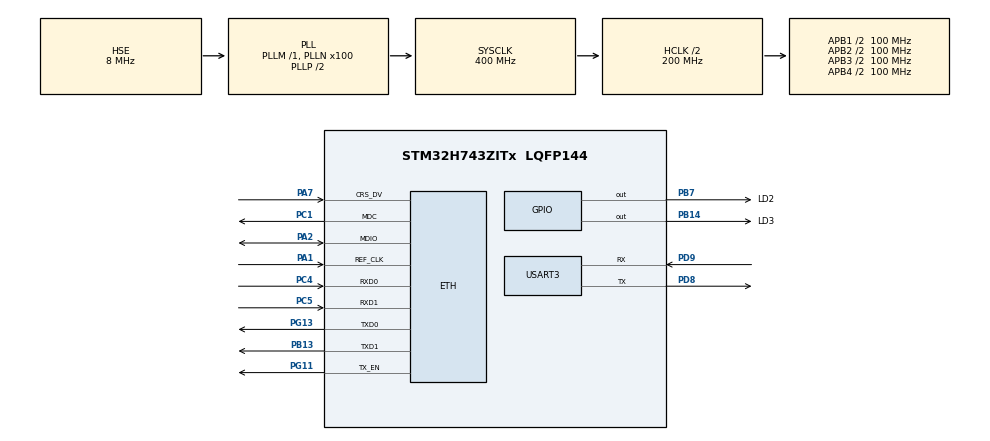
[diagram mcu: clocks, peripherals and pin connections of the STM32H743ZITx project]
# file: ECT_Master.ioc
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CORTEX_M7.CPU_DCache=Enabled
CORTEX_M7.CPU_ICache=Enabled
CORTEX_M7.MPU_Control=__NULL
ETH.MediaInterface=HAL_ETH_RMII_MODE
ETH.RxBuffLen=1528
Mcu.Family=STM32H7
Mcu.Name=STM32H743ZITx
Mcu.Package=LQFP144
NVIC.PriorityGroup=NVIC_PRIORITYGROUP_2
NVIC.TIM2_IRQn=true\:0\:0\:true\:false\:true\:true
NVIC.TIM3_IRQn=true\:1\:1\:true\:false\:true\:true
NVIC.TIM4_IRQn=true\:1\:2\:true\:false\:true\:true
NVIC.USART3_IRQn=true\:2\:0\:true\:false\:true\:true
PA1.GPIO_Speed=GPIO_SPEED_FREQ_HIGH
PA1.Mode=RMII
PA1.Signal=ETH_REF_CLK
PA13\ (JTMS/SWDIO).Mode=Serial_Wire
PA13\ (JTMS/SWDIO).Signal=SYS_JTMS-SWDIO
PA14\ (JTCK/SWCLK).Mode=Serial_Wire
PA14\ (JTCK/SWCLK).Signal=SYS_JTCK-SWCLK
PA2.GPIO_Speed=GPIO_SPEED_FREQ_HIGH
PA2.Mode=RMII
PA2.Signal=ETH_MDIO
PA7.GPIO_Speed=GPIO_SPEED_FREQ_HIGH
PA7.Mode=RMII
PA7.Signal=ETH_CRS_DV
PB13.GPIO_Speed=GPIO_SPEED_FREQ_HIGH
PB13.Mode=RMII
PB13.Signal=ETH_TXD1
PB14.GPIO_Label=LD3
PB14.GPIO_PuPd=GPIO_PULLUP
PB14.GPIO_Speed=GPIO_SPEED_FREQ_HIGH
PB14.PinState=GPIO_PIN_SET
PB14.Signal=GPIO_Output
PB3\ (JTDO/TRACESWO).Signal=SYS_JTDO-SWO
PB7.GPIO_Label=LD2
PB7.GPIO_PuPd=GPIO_PULLUP
PB7.GPIO_Speed=GPIO_SPEED_FREQ_HIGH
PB7.PinState=GPIO_PIN_SET
PB7.Signal=GPIO_Output
PC1.Mode=RMII
PC1.Signal=ETH_MDC
PC14-OSC32_IN\ (OSC32_IN).Mode=LSE-External-Oscillator
PC14-OSC32_IN\ (OSC32_IN).Signal=RCC_OSC32_IN
PC15-OSC32_OUT\ (OSC32_OUT).Mode=LSE-External-Oscillator
PC15-OSC32_OUT\ (OSC32_OUT).Signal=RCC_OSC32_OUT
PC4.GPIO_Speed=GPIO_SPEED_FREQ_HIGH
PC4.Mode=RMII
PC4.Signal=ETH_RXD0
PC5.GPIO_Speed=GPIO_SPEED_FREQ_HIGH
PC5.Mode=RMII
PC5.Signal=ETH_RXD1
PD8.GPIO_Speed=GPIO_SPEED_FREQ_HIGH
PD8.Mode=Asynchronous
PD8.Signal=USART3_TX
PD9.GPIO_Speed=GPIO_SPEED_FREQ_HIGH
PD9.Mode=Asynchronous
PD9.Signal=USART3_RX
PG11.GPIO_Speed=GPIO_SPEED_FREQ_HIGH
PG11.Mode=RMII
PG11.Signal=ETH_TX_EN
PG13.GPIO_Speed=GPIO_SPEED_FREQ_HIGH
PG13.Mode=RMII
PG13.Signal=ETH_TXD0
PH0-OSC_IN\ (PH0).Mode=HSE-External-Oscillator
PH0-OSC_IN\ (PH0).Signal=RCC_OSC_IN
PH1-OSC_OUT\ (PH1).Mode=HSE-External-Oscillator
PH1-OSC_OUT\ (PH1).Signal=RCC_OSC_OUT
ProjectManager.HeapSize=0x200
ProjectManager.StackSize=0x4000
ProjectManager.TargetToolchain=MDK-ARM V5
RCC.ADCFreq_Value=16125000
RCC.APB1Freq_Value=100000000
RCC.APB2Freq_Value=100000000
RCC.APB3Freq_Value=100000000
RCC.APB4Freq_Value=100000000
RCC.CortexFreq_Value=400000000
RCC.D1PPRE=RCC_APB3_DIV2
RCC.D2PPRE1=RCC_APB1_DIV2
RCC.D2PPRE2=RCC_APB2_DIV2
RCC.D3PPRE=RCC_APB4_DIV2
RCC.DIVM1=1
RCC.DIVM3=1
RCC.DIVN1=100
RCC.DIVN3=36
RCC.DIVQ3=6
RCC.HCLKFreq_Value=200000000
RCC.HPRE=RCC_HCLK_DIV2
RCC.HSE_VALUE=8000000
RCC.HSIDiv=RCC_PLLSAIDIVR_8
RCC.PLLSourceVirtual=RCC_PLLSOURCE_HSE
RCC.SYSCLKFreq_VALUE=400000000
RCC.SYSCLKSource=RCC_SYSCLKSOURCE_PLLCLK
RCC.USBFreq_Value=400000000
TIM2.AutoReloadPreload=TIM_AUTORELOAD_PRELOAD_ENABLE
TIM2.Period=999
TIM2.Prescaler=199
TIM2.TIM_MasterOutputTrigger=TIM_TRGO_UPDATE
TIM2.TIM_MasterSlaveMode=TIM_MASTERSLAVEMODE_ENABLE
TIM3.AutoReloadPreload=TIM_AUTORELOAD_PRELOAD_ENABLE
TIM3.Period=0xffff
TIM3.TIM_MasterOutputTrigger=TIM_TRGO_UPDATE
TIM3.TIM_MasterSlaveMode=TIM_MASTERSLAVEMODE_ENABLE
TIM4.AutoReloadPreload=TIM_AUTORELOAD_PRELOAD_ENABLE
TIM4.Period=0xffff
TIM4.TIM_MasterOutputTrigger=TIM_TRGO_UPDATE
USART3.VirtualMode-Asynchronous=VM_ASYNC
VP_TIM2_VS_ClockSourceINT.Mode=Internal
VP_TIM3_VS_ClockSourceITR.Mode=TriggerSource_ITR1
VP_TIM3_VS_ControllerModeClock.Mode=Clock Mode
VP_TIM4_VS_ClockSourceITR.Mode=TriggerSource_ITR2
VP_TIM4_VS_ControllerModeClock.Mode=Clock Mode
board=custom

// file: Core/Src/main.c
/* USER CODE BEGIN Header */
/**
  ******************************************************************************
  * @file           : main.c
  * @brief          : Main program body
  ******************************************************************************
  ** This notice applies to any and all portions of this file
  * that are not between comment pairs USER CODE BEGIN and
  * USER CODE END. Other portions of this file, whether
  * inserted by the user or by software development tools
  * are owned by their respective copyright owners.
  *
  * COPYRIGHT(c) 2018 STMicroelectronics
  *
  * Redistribution and use in source and binary forms, with or without modification,
  * are permitted provided that the following conditions are met:
  *   1. Redistributions of source code must retain the above copyright notice,
  *      this list of conditions and the following disclaimer.
  *   2. Redistributions in binary form must reproduce the above copyright notice,
  *      this list of conditions and the following disclaimer in the documentation
  *      and/or other materials provided with the distribution.
  *   3. Neither the name of STMicroelectronics nor the names of its contributors
  *      may be used to endorse or promote products derived from this software
  *      without specific prior written permission.
  *
  * THIS SOFTWARE IS PROVIDED BY THE COPYRIGHT HOLDERS AND CONTRIBUTORS "AS IS"
  * AND ANY EXPRESS OR IMPLIED WARRANTIES, INCLUDING, BUT NOT LIMITED TO, THE
  * IMPLIED WARRANTIES OF MERCHANTABILITY AND FITNESS FOR A PARTICULAR PURPOSE ARE
  * DISCLAIMED. IN NO EVENT SHALL THE COPYRIGHT HOLDER OR CONTRIBUTORS BE LIABLE
  * FOR ANY DIRECT, INDIRECT, INCIDENTAL, SPECIAL, EXEMPLARY, OR CONSEQUENTIAL
  * DAMAGES (INCLUDING, BUT NOT LIMITED TO, PROCUREMENT OF SUBSTITUTE GOODS OR
  * SERVICES; LOSS OF USE, DATA, OR PROFITS; OR BUSINESS INTERRUPTION) HOWEVER
  * CAUSED AND ON ANY THEORY OF LIABILITY, WHETHER IN CONTRACT, STRICT LIABILITY,
  * OR TORT (INCLUDING NEGLIGENCE OR OTHERWISE) ARISING IN ANY WAY OUT OF THE USE
  * OF THIS SOFTWARE, EVEN IF ADVISED OF THE POSSIBILITY OF SUCH DAMAGE.
  *
  ******************************************************************************
  */
/* USER CODE END Header */

#include "main.h"
#include "eth.h"
#include "tim.h"
#include "usart.h"
#include "gpio.h"
#include "function.h"

void SystemClock_Config(void);

/* USER CODE BEGIN 0 */
/**
  * @brief  Configure the MPU attributes as Write Through for External SDRAM.
  * @note   The Base Address is SDRAM_DEVICE_ADDR .
  *         The Configured Region Size is 32MB because same as SDRAM size.
  * @param  None
  * @retval None
  */
static void MPU_Config(void)
{
  MPU_Region_InitTypeDef MPU_InitStruct;

  /* Disable the MPU */
  HAL_MPU_Disable();

  /* Configure the MPU attributes as Device not cacheable
     for ETH DMA descriptors */
  MPU_InitStruct.Enable = MPU_REGION_ENABLE;
  MPU_InitStruct.BaseAddress = 0x30040000;
  MPU_InitStruct.Size = MPU_REGION_SIZE_256B;
  MPU_InitStruct.AccessPermission = MPU_REGION_FULL_ACCESS;
  MPU_InitStruct.IsBufferable = MPU_ACCESS_BUFFERABLE;
  MPU_InitStruct.IsCacheable = MPU_ACCESS_NOT_CACHEABLE;
  MPU_InitStruct.IsShareable = MPU_ACCESS_NOT_SHAREABLE;
  MPU_InitStruct.Number = MPU_REGION_NUMBER0;
  MPU_InitStruct.TypeExtField = MPU_TEX_LEVEL0;
  MPU_InitStruct.SubRegionDisable = 0x00;
  MPU_InitStruct.DisableExec = MPU_INSTRUCTION_ACCESS_ENABLE;

  HAL_MPU_ConfigRegion(&MPU_InitStruct);

  /* Configure the MPU attributes as Cacheable write through
     for LwIP RAM heap which contains the Tx buffers */
  MPU_InitStruct.Enable = MPU_REGION_ENABLE;
  MPU_InitStruct.BaseAddress = 0x30044000;
  MPU_InitStruct.Size = MPU_REGION_SIZE_16KB;
  MPU_InitStruct.AccessPermission = MPU_REGION_FULL_ACCESS;
  MPU_InitStruct.IsBufferable = MPU_ACCESS_NOT_BUFFERABLE;
  MPU_InitStruct.IsCacheable = MPU_ACCESS_CACHEABLE;
  MPU_InitStruct.IsShareable = MPU_ACCESS_NOT_SHAREABLE;
  MPU_InitStruct.Number = MPU_REGION_NUMBER1;
  MPU_InitStruct.TypeExtField = MPU_TEX_LEVEL0;
  MPU_InitStruct.SubRegionDisable = 0x00;
  MPU_InitStruct.DisableExec = MPU_INSTRUCTION_ACCESS_ENABLE;

  HAL_MPU_ConfigRegion(&MPU_InitStruct);

  /* Enable the MPU */
  HAL_MPU_Enable(MPU_PRIVILEGED_DEFAULT);
}

/**
  * @brief  CPU L1-Cache enable.
  * @param  None
  * @retval None
  */
static void CPU_CACHE_Enable(void)
{
  /* Enable I-Cache */
  SCB_EnableICache();

  /* Enable D-Cache */
  SCB_EnableDCache();
	SCB->CACR|=1<<2;
}
/* USER CODE END 0 */

int main(void)
{
  /* USER CODE BEGIN 1 */
	MPU_Config();
//	(*(__IO uint32_t*)0XE000EF9C=1UL<<2);
	CPU_CACHE_Enable();
  /* USER CODE END 1 */

  /* Reset of all peripherals, Initializes the Flash interface and the Systick. */
  HAL_Init();

  /* Configure the system clock */
  SystemClock_Config();

  /* Initialize all configured peripherals */
  MX_GPIO_Init();
  MX_USART3_UART_Init();
  MX_TIM2_Init();
  MX_TIM3_Init();
  MX_TIM4_Init();
  MX_ETH_Init();
  /* USER CODE BEGIN 2 */
	debug_printf("this is a test\n");
  uint8_t a[]={1,2};

  /* USER CODE END 2 */
	ETH_PHY_SEND(&a,sizeof(a));
  /* Infinite loop */
  while (1)
  {
	  HAL_GPIO_WritePin(GPIOB, LD3_Pin|LD2_Pin, GPIO_PIN_RESET);
	  ETH_PHY_RECEIVE();
	  HAL_Delay(500);
	  HAL_GPIO_WritePin(GPIOB, LD3_Pin|LD2_Pin, GPIO_PIN_SET);
	  HAL_Delay(500);
//	  ETH_PHY_SEND(&a,sizeof(a));
  }
}

void SystemClock_Config(void)
{
  RCC_OscInitTypeDef RCC_OscInitStruct = {0};
  RCC_ClkInitTypeDef RCC_ClkInitStruct = {0};
  RCC_PeriphCLKInitTypeDef PeriphClkInitStruct = {0};

  /**Supply configuration update enable
  */
  MODIFY_REG(PWR->CR3, PWR_CR3_SCUEN, 0);
  /**Configure the main internal regulator output voltage
  */
  __HAL_PWR_VOLTAGESCALING_CONFIG(PWR_REGULATOR_VOLTAGE_SCALE1);

  while ((PWR->D3CR & (PWR_D3CR_VOSRDY)) != PWR_D3CR_VOSRDY)
  {

  }
  /**Initializes the CPU, AHB and APB busses clocks
  */
  RCC_OscInitStruct.OscillatorType = RCC_OSCILLATORTYPE_HSE;
  RCC_OscInitStruct.HSEState = RCC_HSE_ON;
  RCC_OscInitStruct.PLL.PLLState = RCC_PLL_ON;
  RCC_OscInitStruct.PLL.PLLSource = RCC_PLLSOURCE_HSE;
  RCC_OscInitStruct.PLL.PLLM = 1;
  RCC_OscInitStruct.PLL.PLLN = 100;
  RCC_OscInitStruct.PLL.PLLP = 2;
  RCC_OscInitStruct.PLL.PLLQ = 2;
  RCC_OscInitStruct.PLL.PLLR = 2;
  RCC_OscInitStruct.PLL.PLLRGE = RCC_PLL1VCIRANGE_3;
  RCC_OscInitStruct.PLL.PLLVCOSEL = RCC_PLL1VCOWIDE;
  RCC_OscInitStruct.PLL.PLLFRACN = 0;
  if (HAL_RCC_OscConfig(&RCC_OscInitStruct) != HAL_OK)
  {
    Error_Handler();
  }
  /**Initializes the CPU, AHB and APB busses clocks
  */
  RCC_ClkInitStruct.ClockType = RCC_CLOCKTYPE_HCLK|RCC_CLOCKTYPE_SYSCLK
                              |RCC_CLOCKTYPE_PCLK1|RCC_CLOCKTYPE_PCLK2
                              |RCC_CLOCKTYPE_D3PCLK1|RCC_CLOCKTYPE_D1PCLK1;
  RCC_ClkInitStruct.SYSCLKSource = RCC_SYSCLKSOURCE_PLLCLK;
  RCC_ClkInitStruct.SYSCLKDivider = RCC_SYSCLK_DIV1;
  RCC_ClkInitStruct.AHBCLKDivider = RCC_HCLK_DIV2;
  RCC_ClkInitStruct.APB3CLKDivider = RCC_APB3_DIV2;
  RCC_ClkInitStruct.APB1CLKDivider = RCC_APB1_DIV2;
  RCC_ClkInitStruct.APB2CLKDivider = RCC_APB2_DIV2;
  RCC_ClkInitStruct.APB4CLKDivider = RCC_APB4_DIV2;

  if (HAL_RCC_ClockConfig(&RCC_ClkInitStruct, FLASH_LATENCY_2) != HAL_OK)
  {
    Error_Handler();
  }
  PeriphClkInitStruct.PeriphClockSelection = RCC_PERIPHCLK_USART3;
  PeriphClkInitStruct.Usart234578ClockSelection = RCC_USART234578CLKSOURCE_D2PCLK1;
  if (HAL_RCCEx_PeriphCLKConfig(&PeriphClkInitStruct) != HAL_OK)
  {
    Error_Handler();
  }
}

void Error_Handler(void)
{
}

/************************ (C) COPYRIGHT STMicroelectronics *****END OF FILE****/
